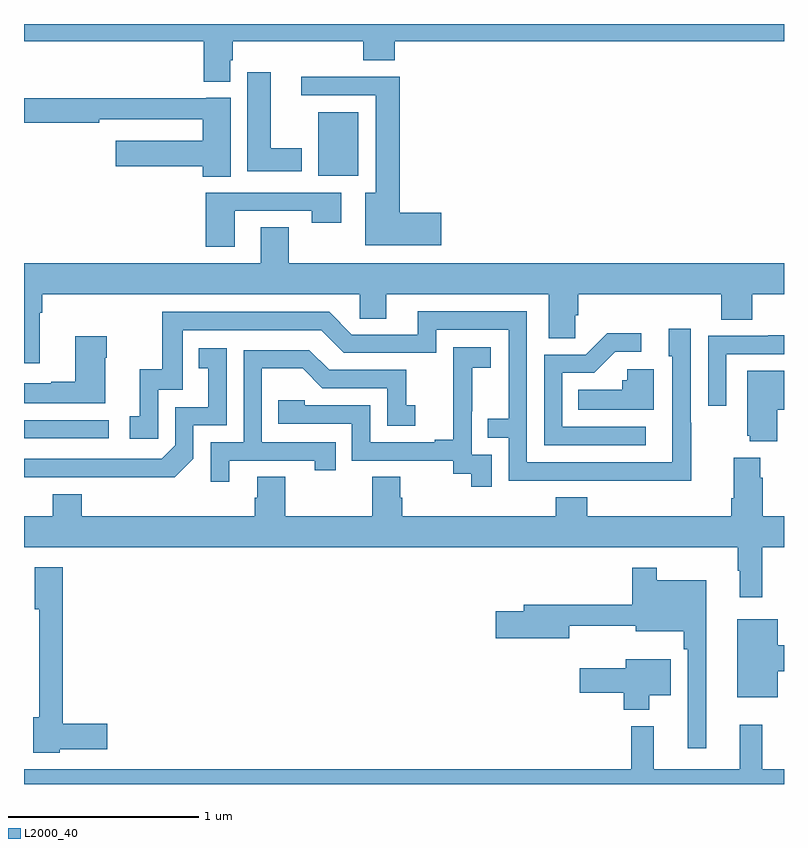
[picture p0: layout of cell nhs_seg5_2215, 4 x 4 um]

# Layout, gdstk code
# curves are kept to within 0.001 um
import gdstk
lib = gdstk.Library(unit=1e-6, precision=1e-09)
def R(c, l, rs):  # rectangles x0, y0, x1, y1
    for r in rs: c.add(gdstk.rectangle(r[:2], r[2:], *l))
def P(c, l, *ps):  # polygons
    for p in ps: c.add(gdstk.Polygon(p, *l))
L2000_40 = (2000, 40)

nhs_seg5_2215 = lib.new_cell('nhs_seg5_2215')
R(nhs_seg5_2215, L2000_40, [(239,906.618,239.446,906.714), (240.548,908,240.76,908.335)])
P(nhs_seg5_2215, L2000_40, [(240.085,908.607),(240.098,908.607),(240.098,908.708),(240.785,908.708),(240.785,908.609),(240.95,908.609),(240.95,908.708),(243,908.708),(243,908.799),(239,908.799),(239,908.708),(239.945,908.708),(239.945,908.495),(240.085,908.495)],
  [(240.463,908.146),(240.298,908.146),(240.298,908.545),(240.176,908.545),(240.176,908.024),(240.463,908.024)],
  [(241.195,907.805),(240.977,907.805),(240.977,908.522),(240.459,908.522),(240.459,908.424),(240.851,908.424),(240.851,907.912),(240.797,907.912),(240.797,907.634),(241.195,907.634)],
  [(240.088,908.41),(239.958,908.41),(239.958,908.407),(239,908.407),(239,908.278),(239.396,908.278),(239.396,908.298),(239.942,908.298),(239.942,908.185),(239.484,908.185),(239.484,908.051),(239.942,908.051),(239.942,907.996),(240.088,907.996)],
  [(240.109,907.815),(240.514,907.815),(240.514,907.752),(240.67,907.752),(240.67,907.911),(239.957,907.911),(239.957,907.626),(240.109,907.626)],
  [(239.083,907.28),(239.096,907.28),(239.096,907.376),(240.768,907.376),(240.768,907.249),(240.907,907.249),(240.907,907.376),(241.763,907.376),(241.763,907.144),(241.902,907.144),(241.902,907.267),(241.916,907.267),(241.916,907.376),(242.669,907.376),(242.669,907.243),(242.834,907.243),(242.834,907.376),(243,907.376),(243,907.54),(240.393,907.54),(240.393,907.73),(240.245,907.73),(240.245,907.54),(239,907.54),(239,907.014),(239.083,907.014)],
  [(242.511,906.701),(242.508,906.701),(242.508,907.195),(242.393,907.195),(242.393,907.05),(242.412,907.05),(242.411,906.492),(241.647,906.492),(241.647,907.287),(241.073,907.287),(241.073,907.164),(240.726,907.164),(240.606,907.284),(239.727,907.284),(239.727,906.982),(239.609,906.982),(239.609,906.735),(239.556,906.735),(239.556,906.615),(239.706,906.615),(239.706,906.873),(239.835,906.873),(239.835,907.188),(240.564,907.188),(240.684,907.068),(241.17,907.068),(241.17,907.191),(241.551,907.191),(241.551,906.722),(241.441,906.722),(241.441,906.621),(241.551,906.621),(241.551,906.396),(242.511,906.395)],
  [(242.272,906.678),(241.833,906.678),(241.833,906.963),(242.002,906.963),(242.113,907.074),(242.248,907.074),(242.248,907.172),(242.069,907.172),(241.956,907.059),(241.737,907.059),(241.737,906.582),(242.272,906.582)],
  [(242.697,907.062),(243,907.062),(243,907.16),(242.917,907.16),(242.917,907.158),(242.601,907.158),(242.601,906.789),(242.697,906.789)],
  [(239.428,907.043),(239.436,907.043),(239.436,907.156),(239.27,907.156),(239.27,906.917),(239.144,906.917),(239.144,906.907),(239.001,906.907),(239.001,906.803),(239.428,906.803)],
  [(241.461,906.531),(241.356,906.531),(241.356,906.761),(241.358,906.761),(241.358,906.989),(241.456,906.989),(241.456,907.099),(241.258,907.099),(241.258,906.893),(241.259,906.893),(241.259,906.61),(241.163,906.61),(241.163,906.597),(240.822,906.597),(240.822,906.792),(240.477,906.792),(240.477,906.819),(240.337,906.819),(240.337,906.696),(240.726,906.696),(240.726,906.501),(241.26,906.501),(241.26,906.433),(241.353,906.433),(241.353,906.363),(241.461,906.363)],
  [(239.892,906.51),(239.892,906.687),(240.066,906.687),(240.066,907.093),(239.92,907.093),(239.92,906.987),(239.969,906.987),(239.969,906.783),(239.796,906.783),(239.796,906.582),(239.724,906.51),(239,906.51),(239,906.414),(239.794,906.413)],
  [(240.079,906.501),(240.53,906.501),(240.53,906.45),(240.641,906.45),(240.641,906.597),(240.252,906.597),(240.252,906.986),(240.466,906.986),(240.57,906.882),(240.912,906.882),(240.912,906.684),(241.06,906.684),(241.06,906.793),(241.011,906.793),(241.011,906.978),(240.607,906.978),(240.502,907.083),(240.156,907.083),(240.156,906.597),(239.982,906.597),(239.982,906.39),(240.079,906.39)],
  [(242.314,906.982),(242.175,906.982),(242.175,906.924),(242.149,906.924),(242.149,906.874),(241.918,906.874),(241.918,906.77),(242.314,906.77)],
  [(242.965,906.77),(243,906.77),(243,906.973),(242.807,906.973),(242.807,906.633),(242.819,906.633),(242.819,906.602),(242.965,906.602)],
  [(240.979,906.306),(240.979,906.416),(240.832,906.416),(240.832,906.208),(240.375,906.208),(240.375,906.416),(240.227,906.416),(240.227,906.306),(240.215,906.306),(240.215,906.208),(239.303,906.208),(239.303,906.325),(239.15,906.325),(239.15,906.208),(239,906.208),(239,906.044),(242.757,906.044),(242.757,905.921),(242.768,905.921),(242.768,905.781),(242.885,905.781),(242.885,906.044),(243,906.044),(243,906.208),(242.888,906.208),(242.888,906.41),(242.875,906.41),(242.875,906.517),(242.735,906.517),(242.735,906.304),(242.723,906.304),(242.723,906.208),(241.964,906.208),(241.964,906.307),(241.799,906.307),(241.799,906.208),(240.992,906.208),(240.992,906.306)],
  [(239.187,904.982),(239.437,904.982),(239.437,905.117),(239.204,905.117),(239.204,905.941),(239.057,905.941),(239.057,905.718),(239.081,905.718),(239.081,905.151),(239.048,905.151),(239.048,904.964),(239.187,904.964)],
  [(242.59,905.872),(242.329,905.872),(242.329,905.938),(242.2,905.938),(242.2,905.743),(241.631,905.743),(241.631,905.709),(241.482,905.709),(241.482,905.567),(241.87,905.567),(241.87,905.632),(242.219,905.632),(242.219,905.603),(242.473,905.603),(242.473,905.507),(242.493,905.507),(242.493,904.986),(242.59,904.986)],
  [(242.968,905.392),(243,905.392),(243,905.528),(242.968,905.528),(242.968,905.665),(242.753,905.665),(242.753,905.255),(242.968,905.255)],
  [(242.29,905.267),(242.404,905.267),(242.404,905.455),(242.168,905.455),(242.168,905.407),(241.926,905.407),(241.926,905.278),(242.156,905.278),(242.156,905.189),(242.29,905.189)],
  [(243,904.876),(242.885,904.876),(242.885,905.11),(242.768,905.11),(242.768,904.876),(242.315,904.876),(242.315,905.104),(242.197,905.104),(242.197,904.876),(239,904.876),(239,904.799),(243,904.799)])

lib.write_gds('nhs_seg5_2215.gds')
